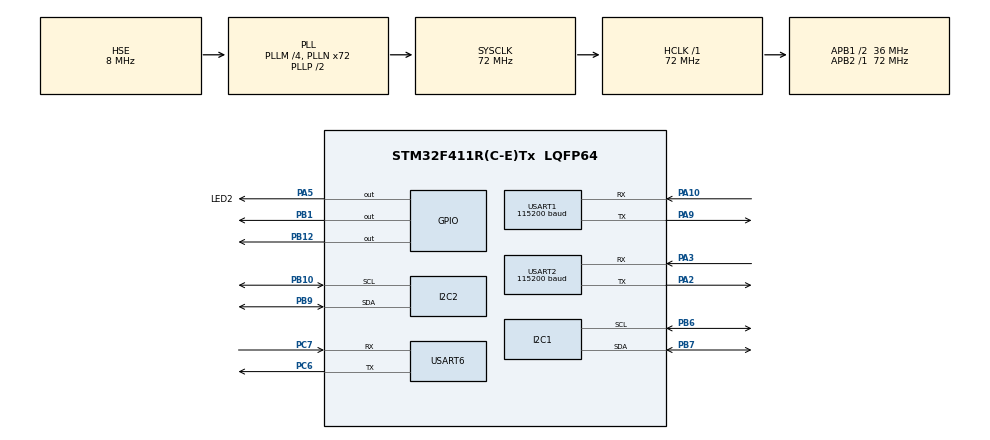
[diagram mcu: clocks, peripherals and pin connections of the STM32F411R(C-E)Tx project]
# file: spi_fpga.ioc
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Dma.Request0=USART6_RX
Dma.USART6_RX.0.Direction=DMA_PERIPH_TO_MEMORY
Dma.USART6_RX.0.FIFOMode=DMA_FIFOMODE_DISABLE
Dma.USART6_RX.0.Instance=DMA2_Stream1
Dma.USART6_RX.0.MemDataAlignment=DMA_MDATAALIGN_BYTE
Dma.USART6_RX.0.MemInc=DMA_MINC_ENABLE
Dma.USART6_RX.0.Mode=DMA_NORMAL
Dma.USART6_RX.0.PeriphDataAlignment=DMA_PDATAALIGN_BYTE
Dma.USART6_RX.0.PeriphInc=DMA_PINC_DISABLE
Dma.USART6_RX.0.Priority=DMA_PRIORITY_LOW
Mcu.Family=STM32F4
Mcu.Name=STM32F411R(C-E)Tx
Mcu.Package=LQFP64
NVIC.DMA2_Stream1_IRQn=true\:0\:0\:false\:false\:true\:false\:true\:true
NVIC.PriorityGroup=NVIC_PRIORITYGROUP_4
NVIC.USART1_IRQn=true\:0\:0\:false\:false\:true\:true\:true\:true
NVIC.USART6_IRQn=true\:0\:0\:false\:false\:true\:true\:true\:true
PA10.Mode=Asynchronous
PA10.Signal=USART1_RX
PA13.Mode=Serial_Wire
PA13.Signal=SYS_JTMS-SWDIO
PA14.Mode=Serial_Wire
PA14.Signal=SYS_JTCK-SWCLK
PA2.Mode=Asynchronous
PA2.Signal=USART2_TX
PA3.Mode=Asynchronous
PA3.Signal=USART2_RX
PA5.GPIO_Label=LED2
PA5.Signal=GPIO_Output
PA9.Mode=Asynchronous
PA9.Signal=USART1_TX
PB1.GPIO_PuPd=GPIO_PULLUP
PB1.GPIO_Speed=GPIO_SPEED_FREQ_HIGH
PB1.Signal=GPIO_Output
PB10.Mode=I2C
PB10.Signal=I2C2_SCL
PB12.GPIO_PuPd=GPIO_PULLUP
PB12.GPIO_Speed=GPIO_SPEED_FREQ_HIGH
PB12.Signal=GPIO_Output
PB3.Signal=SYS_JTDO-SWO
PB6.Mode=I2C
PB6.Signal=I2C1_SCL
PB7.Mode=I2C
PB7.Signal=I2C1_SDA
PB9.Mode=I2C
PB9.Signal=I2C2_SDA
PC14-OSC32_IN.Mode=LSE-External-Oscillator
PC14-OSC32_IN.Signal=RCC_OSC32_IN
PC15-OSC32_OUT.Mode=LSE-External-Oscillator
PC15-OSC32_OUT.Signal=RCC_OSC32_OUT
PC6.Mode=Asynchronous
PC6.Signal=USART6_TX
PC7.Mode=Asynchronous
PC7.Signal=USART6_RX
PH0\ -\ OSC_IN.Mode=HSE-External-Oscillator
PH0\ -\ OSC_IN.Signal=RCC_OSC_IN
PH1\ -\ OSC_OUT.Mode=HSE-External-Oscillator
PH1\ -\ OSC_OUT.Signal=RCC_OSC_OUT
ProjectManager.HeapSize=0x200
ProjectManager.StackSize=0x400
ProjectManager.TargetToolchain=MDK-ARM V5
RCC.48MHZClocksFreq_Value=36000000
RCC.AHBFreq_Value=72000000
RCC.APB1CLKDivider=RCC_HCLK_DIV2
RCC.APB1Freq_Value=36000000
RCC.APB1TimFreq_Value=72000000
RCC.APB2Freq_Value=72000000
RCC.APB2TimFreq_Value=72000000
RCC.CortexFreq_Value=72000000
RCC.HCLKFreq_Value=72000000
RCC.HSE_VALUE=8000000
RCC.HSI_VALUE=16000000
RCC.PLLM=4
RCC.PLLN=72
RCC.PLLSourceVirtual=RCC_PLLSOURCE_HSE
RCC.SYSCLKFreq_VALUE=72000000
RCC.SYSCLKSource=RCC_SYSCLKSOURCE_PLLCLK
RCC.VCOOutputFreq_Value=144000000
USART1.BaudRate=115200
USART1.VirtualMode=VM_ASYNC
USART2.BaudRate=115200
USART2.VirtualMode=VM_ASYNC
USART6.VirtualMode=VM_ASYNC
board=custom

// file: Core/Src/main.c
/* USER CODE BEGIN Header */
/**
  ******************************************************************************
  * @file           : main.c
  * @brief          : Main program body
  ******************************************************************************
  * @attention
  *
  * Copyright (c) 2025 STMicroelectronics.
  * All rights reserved.
  *
  * This software is licensed under terms that can be found in the LICENSE file
  * in the root directory of this software component.
  * If no LICENSE file comes with this software, it is provided AS-IS.
  *
  ******************************************************************************
  */
/* USER CODE END Header */
#include "main.h"
#include "dma.h"
#include "i2c.h"
#include "usart.h"
#include "gpio.h"

/* USER CODE BEGIN Includes */
#include "debug.h"
#include "TCS.h"
#include "Vl6180.h"
#include <stdio.h>
#include "L610_Init.h"
#include "L610_TCP.h"
#include "I2C2.h"
/* USER CODE END Includes */

/* USER CODE BEGIN PTD */
extern char *strx,*extstrx,*Readystrx;
char RxBuffer[200],Rxcouter;
extern char RxBuffer[200],Rxcouter;
extern char *strstr(const char *, const char *);
uint8_t Res;
int Usart1_Rx_Flag=0;
int Flag=0;
int stop=0;
int lightflag=0;
/* USER CODE END PTD */

void SystemClock_Config(void);
/* USER CODE BEGIN PFP */
//void Clear_Buffer(void)
//{
// uint8_t i;
//
//for(i=0;i<Rxcouter;i++)
// RxBuffer2[i]=0;
// Rxcouter=0;
//}
/* USER CODE END PFP */

/* USER CODE BEGIN 0 */
void HAL_UART_RxCpltCallback(UART_HandleTypeDef *huart) {
		UNUSED(huart);
		if(huart->Instance ==USART1){
		RxBuffer[Rxcouter++] = Res;
		HAL_UART_Receive_IT(&huart1, (uint8_t *)&Res, 1);
		Usart1_Rx_Flag=1;
		if(Res=='a')
		{
			Flag=1;
			stop=0;
		}
		else if(Res=='b')
		{
			Flag=2;
			stop=0;
		}
		else if(Res=='c')
		{
			Flag=3;
			stop=0;
		}
		else if(Res=='d')
		{
			stop=1;
		}
		else if(Res=='e')
		{
			Flag=5;
			stop=0;
		}
		}

}
const char TEXT1_Buffer[]={"ni hao"};
const char TEXT2_Buffer[]={"kai shi"};
const char TEXT3_Buffer[]={"kai deng"};
const char TEXT4_Buffer[]={"fa guang"};
const char TEXT5_Buffer[]={"xi dian"};

/* USER CODE END 0 */

int main(void)
{

  /* USER CODE BEGIN 1 */
	extern int flag;
	uint8_t a ;
	uint8_t b=0;
	uint8_t buffer[10]={0};
	uint16_t Rawdata = 0;
	uint8_t buffer2;
	extern uint8_t Usart6_Rx_Flag;
  extern uint8_t Usart6_Rx_Buffer[RXBUFFERSIZE];
	int Cdata;
	int Rdata;
	int Gdata;
	int Bdata;
  /* USER CODE END 1 */

  /* MCU Configuration--------------------------------------------------------*/

  /* Reset of all peripherals, Initializes the Flash interface and the Systick. */
  HAL_Init();

  /* Configure the system clock */
  SystemClock_Config();

  /* Initialize all configured peripherals */
  MX_GPIO_Init();
  MX_DMA_Init();
  MX_USART1_UART_Init();
  MX_USART2_UART_Init();
  MX_I2C1_Init();
  MX_I2C2_Init();
  MX_USART6_UART_Init();
  /* USER CODE BEGIN 2 */
	TCS34725_ENABLE();
	SWJ_Init();
//	printf("ATR\r\n");
	HAL_UART_Receive_IT(&huart1,&Res,1);

//	OPEN_MOUDLE();
//	flag=6;
//	Fibcom_L610_init_pre();

	if(VL6180X_GetID()==VL6180X_DEFAULT_ID)
		VL6180X_Init();
	if (0) //添加的词条和识别模式是可以掉电保存的，第一次设置完成后，可以将此段注释掉，即将1改为0，然后重新下载一次程序
	{
		AsrErase(); //擦除
	  HAL_Delay(60);

		//1：循环识别模式。状态灯常亮（默认模式）
		//2：口令模式，以第一个词条为口令。状态灯常灭，当识别到口令词时常亮，等待识别到新的语音,并且读取识别结果后即灭掉
		//3：按键模式，按下开始识别，不按不识别。支持掉电保存。状态灯随按键按下而亮起，不按不亮

		AsrAddWords(1, (uint8_t*)TEXT1_Buffer, strlen(TEXT1_Buffer));
		HAL_Delay(60);
		AsrAddWords(2, (uint8_t*)TEXT2_Buffer, strlen(TEXT2_Buffer));
		HAL_Delay(60);
		AsrAddWords(3, (uint8_t*)TEXT3_Buffer, strlen(TEXT3_Buffer));
		HAL_Delay(60);
		AsrAddWords(4, (uint8_t*)TEXT4_Buffer, strlen(TEXT4_Buffer));
		HAL_Delay(60);
		AsrAddWords(5, (uint8_t*)TEXT5_Buffer, strlen(TEXT5_Buffer));
		HAL_Delay(60);
		AsrSetMode(1); //设置模式
		HAL_Delay(60);
//		printf("Asr_Result111111:  \r\n");
	}
	Flag = 0;
  /* USER CODE END 2 */

  /* Infinite loop */
  /* USER CODE BEGIN WHILE */
  while (1)
  {
//		flag=2;
//		DEBUG_info("start","1");
//		flag=6;
//		printf("AT+MIPCALL=1\r\n");
//		HAL_Delay(1000);
//		Clear_Buffer();
//		printf("AT+MIPCALL?\r\n");
//		Clear_Buffer();
//		HAL_Delay(3000);
//		printf("AT+HMCON=0,60,\"<your-iotda-endpoint>.myhuaweicloud.com\",\"1883\",\"<device_id>\",\"<device_secret>\",0\r\n");
//		Clear_Buffer();
//		HAL_Delay(500);
//		printf("AT+HMPUB=1,\"$oc/devices/<device_id>/sys/properties/report\",76,\"{\"services\":[{\"service_id\":\"Sprayswitchcontrol\",\"properties\":{\"Switch\":1}}]}\"\r\n");
//		Clear_Buffer();
//		HAL_Delay(500);
//		printf("AT+CAVIMS=1\r\n");
//		Clear_Buffer();
//		HAL_Delay(500);
//		printf("AT+GTSET=\"GPRSFIRST\",0\r\n");
//		Clear_Buffer();
//		HAL_Delay(500);
//		printf("AT+GTSET=\"CALLBREAK\",1\r\n");
//		Clear_Buffer();
//		HAL_Delay(500);
//		printf("AT+CLIP=1\r\n");
//		Clear_Buffer();
//		HAL_Delay(500);
//		printf("ATD<phone_number>\r\n");
//		HAL_Delay(2000);
    /* USER CODE END WHILE */

    /* USER CODE BEGIN 3 */
//		HAL_Delay(1000);
//		UART_SendHex(0x30);
//		HAL_Delay(1000);
//		UART_SendHex(0x31);
//		HAL_Delay(1000);
//		UART_SendHex(0x32);
//		HAL_Delay(1000);
//		UART_SendHex(0x33);

//		printf("%d\r\n",flag);
//		flag=6;
//		HAL_Delay(500);
//		printf("ATI\r\n");
//		flag=2;
//		printf("Received: %s\r\n", RxBuffer);
//		strx=strstr((const char*)RxBuffer,(const char*)"OK");
//		if(strx==NULL)
//		{
//			Clear_Buffer();
//			DEBUG_info("Receive","fall");
//			HAL_Delay(500);
//		}
//		else
//		{
//			Clear_Buffer();
//			DEBUG_info("Receive","success");
//			HAL_Delay(500);
//		}
//		HAL_I2C_Mem_Read(&hi2c1,I2C_TCS34725_ADDR<<1|I2C_READ,TCS34725_STATUS_ADDR|TCS34725_CMD_MASK,1,buffer,1,3000);
//		if(buffer[0]&TCS34725__STATUS_AVALID)
//		{
//			//RGBC Valid
//			//Get Clear RAW data
//			Rawdata =  TCS34725_Get_RawData(&hi2c1,TCS34725_CDATA_ADDR|TCS34725_CMD_MASK);
//			//Send Clear RAW data to UART
//			Send_RAWData_To_UART('C',Rawdata);
//			//Get RED RAW data
//			Rawdata =  TCS34725_Get_RawData(&hi2c1,TCS34725_RDATA_ADDR|TCS34725_CMD_MASK);
//			//Send RED RAW data to UART
//			Send_RAWData_To_UART('R',Rawdata);
//			//Get Green RAW data
//			Rawdata =  TCS34725_Get_RawData(&hi2c1,TCS34725_GDATA_ADDR|TCS34725_CMD_MASK);
//			//Send Green RAW data to UART
//			Send_RAWData_To_UART('G',Rawdata);
//			//Get Blue RAW data
//			Rawdata =  TCS34725_Get_RawData(&hi2c1,TCS34725_BDATA_ADDR|TCS34725_CMD_MASK);
//			//Send Blue RAW data to UART
//			Send_RAWData_To_UART('B',Rawdata);
//		}
		flag=2;
//		printf("Received: %s\r\n", Usart6_Rx_Buffer);
//		DEBUG_info("Received","%s\r\n",RxBuffer);

//		DEBUG_info("Received","%d\r\n",Usart6_Rx_Flag);
//		HAL_Delay(1000);
//		buffer2 = VL6180X_GetRange();
//		DEBUG_info("Range",":%d",(int)buffer2);
//		UART6_SendChar('1');
//		HAL_Delay(1000);
//		UART6_SendChar('0');
//		HAL_Delay(1000);
//		UART6_SendChar('2');

		if(Flag == 5&&stop==0) //上位机登录后，发送e，开始执行
		{
			flag=2;
			DEBUG_info("Received","%s\r\n",RxBuffer);
//			HAL_GPIO_WritePin(LED2_GPIO_Port, LED2_Pin, GPIO_PIN_SET);

//			Usart6_Rx_Flag=0;
			HAL_Delay(1000);
			buffer2 = VL6180X_GetRange();			//读取距离传感器
			uint8_t temp1=(int)buffer2;
			uint8_t temp3[2]={(int)buffer2,0};
			char temp4=buffer2;
			flag=2;
			DEBUG_info("Range",":%d",(int)buffer2);
//			HAL_UART_Transmit(&huart1,temp3,1,5);
			char tempStr[10];
			sprintf(tempStr, "%d", temp1);

			UART1_SendString(tempStr);		//发送距离数据给上位机
			UART1_SendString("\r\n");
			uint8_t result=0;
			result = Asr_Result(); //返回识别结果，即识别到的词条编号
			DEBUG_info("result",":%d",(int)result);

			if(result!=0) //对语音模块说“开灯”，开灯
			{
				HAL_GPIO_WritePin(LED2_GPIO_Port, LED2_Pin, GPIO_PIN_SET);
			}
			else if(result==2||result==5)//对语音说“西电”，关灯
			{
				HAL_GPIO_WritePin(LED2_GPIO_Port, LED2_Pin, GPIO_PIN_RESET);
			}
			if(temp1>30)					//若距离（），传给f4再传给fpga驱动电机
			{
				HAL_Delay(100);
				UART6_SendChar('1');			//给f4发1
				HAL_Delay(100);
				DEBUG_info("uart","ok");

				UART1_SendString("jiashui");		//给上位机发“加水”
				UART1_SendString("\r\n");
				lightflag=1;
			}
			if(temp1<10&&lightflag==1)
			{
				HAL_Delay(10000);
				HAL_GPIO_WritePin(LED2_GPIO_Port, LED2_Pin, GPIO_PIN_SET);
				lightflag=0;
			}
			//实时检测颜色
		HAL_I2C_Mem_Read(&hi2c1,I2C_TCS34725_ADDR<<1|I2C_READ,TCS34725_STATUS_ADDR|TCS34725_CMD_MASK,1,buffer,1,3000);
		if(buffer[0]&TCS34725__STATUS_AVALID)
		{
			//RGBC Valid
			//Get Clear RAW data
			Cdata =  TCS34725_Get_RawData(&hi2c1,TCS34725_CDATA_ADDR|TCS34725_CMD_MASK);
			//Send Clear RAW data to UART
			Send_RAWData_To_UART('C',Cdata);
			//Get RED RAW data
			Rdata =  TCS34725_Get_RawData(&hi2c1,TCS34725_RDATA_ADDR|TCS34725_CMD_MASK);
			//Send RED RAW data to UART
			Send_RAWData_To_UART('R',Rdata);
			//Get Green RAW data
			Gdata =  TCS34725_Get_RawData(&hi2c1,TCS34725_GDATA_ADDR|TCS34725_CMD_MASK);
			//Send Green RAW data to UART
			Send_RAWData_To_UART('G',Gdata);
			//Get Blue RAW data
			Bdata =  TCS34725_Get_RawData(&hi2c1,TCS34725_BDATA_ADDR|TCS34725_CMD_MASK);
			//Send Blue RAW data to UART
			Send_RAWData_To_UART('B',Bdata);
		}
		if(900<Bdata&&Bdata)//检测到蓝色（异物），给f4发2
		{
			UART6_SendChar('2');
			HAL_Delay(1000);
			DEBUG_info("uart","ok");

			UART1_SendString("jinggao");//给上位机发送“警告”
			UART1_SendString("\r\n");

		}
		}
		if(Flag==1&&stop==0) //测试模式，发送a测颜色，传回B颜色值。
		{
			HAL_I2C_Mem_Read(&hi2c1,I2C_TCS34725_ADDR<<1|I2C_READ,TCS34725_STATUS_ADDR|TCS34725_CMD_MASK,1,buffer,1,3000);
		  if(buffer[0]&TCS34725__STATUS_AVALID)
			{
			//RGBC Valid
			//Get Clear RAW data
				Cdata =  TCS34725_Get_RawData(&hi2c1,TCS34725_CDATA_ADDR|TCS34725_CMD_MASK);
			//Send Clear RAW data to UART
				Send_RAWData_To_UART('C',Cdata);
			//Get RED RAW data
				Rdata =  TCS34725_Get_RawData(&hi2c1,TCS34725_RDATA_ADDR|TCS34725_CMD_MASK);
			//Send RED RAW data to UART
				Send_RAWData_To_UART('R',Rdata);
			//Get Green RAW data
				Gdata =  TCS34725_Get_RawData(&hi2c1,TCS34725_GDATA_ADDR|TCS34725_CMD_MASK);
			//Send Green RAW data to UART
				Send_RAWData_To_UART('G',Gdata);
			//Get Blue RAW data
				Bdata =  TCS34725_Get_RawData(&hi2c1,TCS34725_BDATA_ADDR|TCS34725_CMD_MASK);
			//Send Blue RAW data to UART
				Send_RAWData_To_UART('B',Bdata);
			}
			char tempStr2[10];
			sprintf(tempStr2, "%d", Bdata);
			UART1_SendString(tempStr2);
			UART1_SendString("\r\n");
			HAL_Delay(2000);
		}
		if(Flag==2&&stop==0) //测试模式发b，检测距离，传回距离值
		{
			buffer2 = VL6180X_GetRange();			//读取距离传感器
			uint8_t temp1=(int)buffer2;
			char tempStr[10];
			sprintf(tempStr, "%d", temp1);
			DEBUG_info("Range",":%d",(int)buffer2);
			UART1_SendString(tempStr);		//发送距离数据给上位机
			UART1_SendString("\r\n");
			HAL_Delay(2000);
		}
		if(Flag==3&&stop==0) //测试模式发c，测试舵机，传回ok
		{
			UART6_SendChar('1');
			HAL_Delay(2000);
			UART1_SendString("ok");		//给上位机发“加水”
			UART1_SendString("\r\n");
			DEBUG_info("uart","ok");
		}

		//UART_SendString("45");
  }
  /* USER CODE END 3 */
}

void SystemClock_Config(void)
{
  RCC_OscInitTypeDef RCC_OscInitStruct = {0};
  RCC_ClkInitTypeDef RCC_ClkInitStruct = {0};

  /** Configure the main internal regulator output voltage
  */
  __HAL_RCC_PWR_CLK_ENABLE();
  __HAL_PWR_VOLTAGESCALING_CONFIG(PWR_REGULATOR_VOLTAGE_SCALE1);

  /** Initializes the RCC Oscillators according to the specified parameters
  * in the RCC_OscInitTypeDef structure.
  */
  RCC_OscInitStruct.OscillatorType = RCC_OSCILLATORTYPE_HSE;
  RCC_OscInitStruct.HSEState = RCC_HSE_ON;
  RCC_OscInitStruct.PLL.PLLState = RCC_PLL_ON;
  RCC_OscInitStruct.PLL.PLLSource = RCC_PLLSOURCE_HSE;
  RCC_OscInitStruct.PLL.PLLM = 4;
  RCC_OscInitStruct.PLL.PLLN = 72;
  RCC_OscInitStruct.PLL.PLLP = RCC_PLLP_DIV2;
  RCC_OscInitStruct.PLL.PLLQ = 4;
  if (HAL_RCC_OscConfig(&RCC_OscInitStruct) != HAL_OK)
  {
    Error_Handler();
  }

  /** Initializes the CPU, AHB and APB buses clocks
  */
  RCC_ClkInitStruct.ClockType = RCC_CLOCKTYPE_HCLK|RCC_CLOCKTYPE_SYSCLK
                              |RCC_CLOCKTYPE_PCLK1|RCC_CLOCKTYPE_PCLK2;
  RCC_ClkInitStruct.SYSCLKSource = RCC_SYSCLKSOURCE_PLLCLK;
  RCC_ClkInitStruct.AHBCLKDivider = RCC_SYSCLK_DIV1;
  RCC_ClkInitStruct.APB1CLKDivider = RCC_HCLK_DIV2;
  RCC_ClkInitStruct.APB2CLKDivider = RCC_HCLK_DIV1;

  if (HAL_RCC_ClockConfig(&RCC_ClkInitStruct, FLASH_LATENCY_2) != HAL_OK)
  {
    Error_Handler();
  }
}

void Error_Handler(void)
{
  __disable_irq();
  while (1)
  {
  }
}
